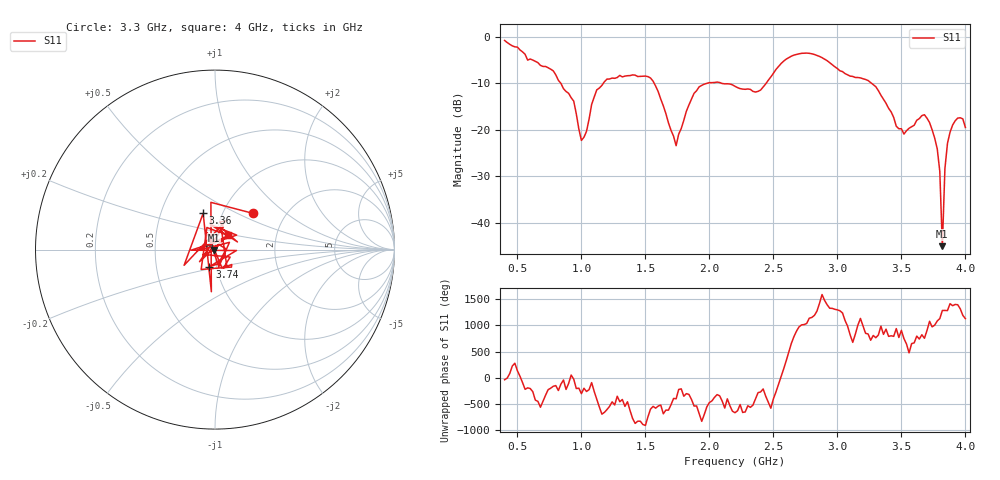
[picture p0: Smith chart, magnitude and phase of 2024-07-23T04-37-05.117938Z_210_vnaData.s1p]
!Created with skrf (http://scikit-rf.org).
# Hz S RI R 50.0
!freq ReS11 ImS11
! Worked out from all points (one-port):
!   181 points, 400 MHz to 4 GHz, reference 50 ohm
!   lowest |S11| = -45.0 dB at 3.82 GHz (marker M1), VSWR 1.01, Z = 49.5 - j0.221 ohm
!   |S11| at or under -10 dB: 1.569 GHz to 1.981 GHz (412.4 MHz wide, 23.2 % of centre); 2.097 GHz to 2.443 GHz (346.3 MHz wide, 15.3 % of centre); 3.268 GHz to end of sweep (the widest 3 of 4)
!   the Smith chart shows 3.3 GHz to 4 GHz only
!   S11 on the Smith chart (normalised r, x): 3.3 GHz: 1.37, +0.61; 3.36 GHz: 0.81, +0.34; 3.74 GHz: 0.92, -0.18; 4 GHz: 1.14, +0.18
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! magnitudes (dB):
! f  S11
! 400 MHz  -0.8
! 780 MHz  -7.3
! 860 MHz  -11.1
! 940 MHz  -13.8
! 1 GHz  -22.3
! 1.12 GHz  -11.4
! 1.3 GHz  -8.3
! 1.54 GHz  -8.8
! 1.74 GHz  -23.4
! 1.76 GHz  -20.9
! 1.92 GHz  -10.8
! 2.2 GHz  -10.6
! 2.4 GHz  -11.4
! 2.66 GHz  -3.9
! 3.1 GHz  -8.4
! 3.3 GHz  -10.7
! 3.36 GHz  -13.4
! 3.46 GHz  -19.2
! 3.56 GHz  -19.7
! 3.68 GHz  -16.8
! 3.74 GHz  -20.0
! 3.78 GHz  -24.1
! 3.8 GHz  -28.9
! 3.82 GHz  -45.0
! 3.84 GHz  -28.3
! 3.86 GHz  -22.9
! 3.94 GHz  -17.5
! 4 GHz  -19.5
